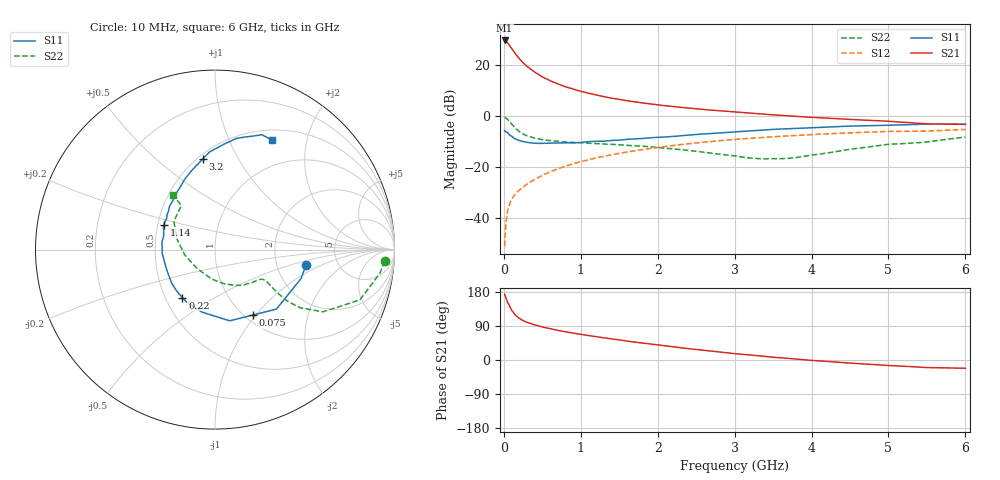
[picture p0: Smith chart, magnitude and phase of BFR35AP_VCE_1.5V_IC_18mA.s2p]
! Infineon Technologies  Discrete & RF Semiconductors
! BFR35AP
! VCE =  1.5 V,  IC =  18 mA
! Common Emitter S-Parameters:  Nov 2015
# GHz  S  MA  R  50
!  f  S11  S21  S12  S22
! GHz  MAG  ANG  MAG  ANG  MAG  ANG  MAG  ANG
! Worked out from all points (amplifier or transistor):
!   210 points, 10 MHz to 6 GHz, reference 50 ohm
!   highest |S21| = 29.6 dB at 10 MHz (marker M1)
!   |S21| within 3 dB of that: start of sweep to 99.08 MHz
!   unconditionally stable (mu >= 1): 335.4 MHz to end of sweep
!   at 185 MHz: K = 0.78, MSG = 26.3 dB, |S12| = -29.5 dB
!   at 1.52 GHz: K = 1.16, MAG = 8.1 dB, |S12| = -14.5 dB
!   at 6 GHz: K = 1.02, MAG = 0.2 dB, |S12| = -5.3 dB
!   S11 on the Smith chart (normalised r, x): 10 MHz: 2.94, -0.69; 75 MHz: 1.09, -0.97; 220 MHz: 0.61, -0.36; 1.14 GHz: 0.54, +0.16; 3.2 GHz: 0.53, +0.72; 6 GHz: 0.63, +1.45
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0.01  0.5145 -9.6  30.2 173.7  0.0028 81.6  0.9471 -3.9
0.02  0.5058 -18.6  29.73 167.5  0.0056 81.5  0.9282 -8.2
0.05  0.4765 -44.1  27.17 151.2  0.014 73.2  0.8551 -19.1
0.075  0.4215 -59.8  23.88 142.5  0.0185 68.7  0.7711 -24.0
0.1  0.4052 -78.3  21.3 131.3  0.023 65.9  0.6941 -30.0
0.15  0.3557 -102.0  16.54 118.1  0.0296 62.8  0.5721 -34.4
0.2  0.3312 -119.1  13.34 109.9  0.0351 62.8  0.495 -35.4
0.22  0.3228 -124.2  12.39 107.7  0.0373 63.2  0.4739 -35.3
0.26  0.3125 -134.2  10.68 102.9  0.0417 63.9  0.4354 -34.9
0.3  0.3053 -142.5  9.382 99.2  0.0459 64.8  0.4079 -34.3
0.4  0.2917 -157.1  7.23 92.6  0.0568 66.5  0.3666 -32.9
0.5  0.2901 -167.3  5.834 87.0  0.0683 67.7  0.3421 -31.8
0.7  0.2944 177.4  4.25 78.1  0.0915 68.1  0.3182 -31.7
1.02  0.3045 159.9  2.987 67.1  0.1292 65.9  0.2969 -34.6
1.14  0.3155 154.3  2.703 63.3  0.1433 65.0  0.2897 -36.5
1.6  0.3491 136.7  1.987 49.8  0.1964 59.8  0.2657 -45.3
2.02  0.3815 124.4  1.635 39.2  0.2433 54.6  0.2398 -55.9
3.1  0.4971 99.5  1.163 15.1  0.3553 39.6  0.1564 -102.6
3.2  0.5085 97.8  1.134 13.3  0.364 38.1  0.1499 -109.6
4.1  0.5959 84.0  0.922 -2.3  0.439 25.5  0.1782 -176.5
5.1  0.6632 72.2  0.769 -15.5  0.4979 11.4  0.2822 141.5
6  0.6886 62.6  0.683 -21.7  0.5439 1.4  0.3859 127.7
